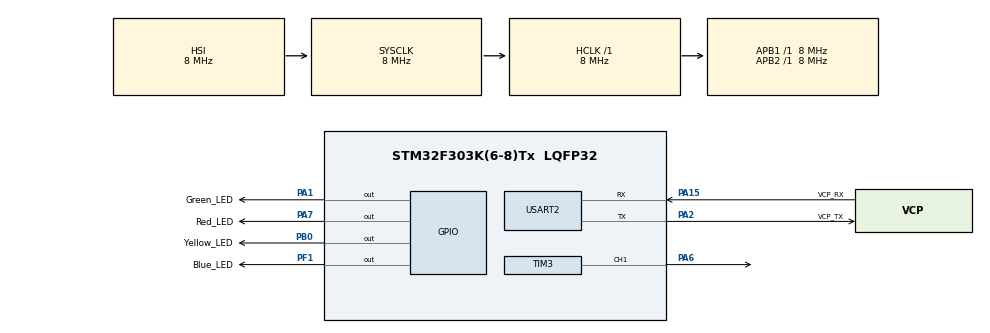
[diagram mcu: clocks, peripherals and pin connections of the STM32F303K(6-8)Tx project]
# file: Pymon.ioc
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Mcu.Family=STM32F3
Mcu.Name=STM32F303K(6-8)Tx
Mcu.Package=LQFP32
NVIC.PriorityGroup=NVIC_PRIORITYGROUP_4
PA1.GPIO_Label=Green_LED
PA1.Signal=GPIO_Output
PA13.GPIO_Label=SWDIO
PA13.Mode=Serial_Wire
PA13.Signal=SYS_JTMS-SWDIO
PA14.GPIO_Label=SWCLK
PA14.Mode=Serial_Wire
PA14.Signal=SYS_JTCK-SWCLK
PA15.GPIO_Label=VCP_RX
PA15.Mode=Asynchronous
PA15.Signal=USART2_RX
PA2.GPIO_Label=VCP_TX
PA2.Mode=Asynchronous
PA2.Signal=USART2_TX
PA6.Signal=S_TIM3_CH1
PA7.GPIO_Label=Red_LED
PA7.Signal=GPIO_Output
PA8.GPIO_Label=BUZZER
PA8.Signal=S_TIM1_CH1
PB0.GPIO_Label=Yellow_LED
PB0.Signal=GPIO_Output
PF0\ /\ OSC_IN.GPIO_Label=MCO
PF0\ /\ OSC_IN.Mode=HSE-External-Clock-Source
PF0\ /\ OSC_IN.Signal=RCC_OSC_IN
PF1\ /\ OSC_OUT.GPIO_Label=Blue_LED
PF1\ /\ OSC_OUT.Signal=GPIO_Output
ProjectManager.HeapSize=0x200
ProjectManager.StackSize=0x400
ProjectManager.TargetToolchain=STM32CubeIDE
RCC.AHBFreq_Value=8000000
RCC.APB1Freq_Value=8000000
RCC.APB2Freq_Value=8000000
RCC.CortexFreq_Value=8000000
RCC.HSE_VALUE=8000000
RCC.HSI_VALUE=8000000
RCC.PLLSourceVirtual=RCC_PLLSOURCE_HSE
RCC.SYSCLKFreq_VALUE=8000000
SH.S_TIM1_CH1.0=TIM1_CH1
SH.S_TIM3_CH1.0=TIM3_CH1,PWM Generation1 CH1
TIM1.Channel-PWM\ Generation1\ No\ Output=TIM_CHANNEL_1
TIM1.Period=65535
TIM1.Prescaler=7
TIM3.Channel-PWM\ Generation1\ CH1=TIM_CHANNEL_1
TIM3.Prescaler=7
TIM3.Pulse-PWM\ Generation1\ CH1=49
USART2.VirtualMode-Asynchronous=VM_ASYNC
VP_TIM1_VS_ClockSourceINT.Mode=Internal
VP_TIM1_VS_no_output1.Mode=PWM Generation1 No Output
board=NUCLEO-F303K8

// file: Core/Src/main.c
/* USER CODE BEGIN Header */
/**
  ******************************************************************************
  * @file           : main.c
  * @brief          : Main program body
  ******************************************************************************
  * @attention
  *
  * Copyright (c) 2024 STMicroelectronics.
  * All rights reserved.
  *
  * This software is licensed under terms that can be found in the LICENSE file
  * in the root directory of this software component.
  * If no LICENSE file comes with this software, it is provided AS-IS.
  *
  ******************************************************************************
  */
/* USER CODE END Header */
#include "main.h"

/* USER CODE BEGIN Includes */
#include "buzzer.h"
#include "buzzer_tones.h"
/* USER CODE END Includes */

/* USER CODE BEGIN PTD */
Buzzer_HandleTypeDef hbuzzer;
/* USER CODE END PTD */

TIM_HandleTypeDef htim1;
TIM_HandleTypeDef htim3;

UART_HandleTypeDef huart2;

void SystemClock_Config(void);
static void MX_GPIO_Init(void);
static void MX_USART2_UART_Init(void);
static void MX_TIM1_Init(void);
static void MX_TIM3_Init(void);

int main(void)
{

  /* MCU Configuration--------------------------------------------------------*/

  /* Reset of all peripherals, Initializes the Flash interface and the Systick. */
  HAL_Init();

  /* Configure the system clock */
  SystemClock_Config();

  /* Initialize all configured peripherals */
  MX_GPIO_Init();
  MX_USART2_UART_Init();
  MX_TIM1_Init();
  MX_TIM3_Init();
  /* USER CODE BEGIN 2 */

  //Buzzer configuration
  uint8_t buf;
  Buzzer_InitTypeDef buzzerConfig;
  buzzerConfig.channel = TIM_CHANNEL_1;
  buzzerConfig.timer = &htim3;
  buzzerConfig.timerClockFreqHz = HAL_RCC_GetPCLK2Freq(); // NOTE: this should be freq of timer, not frequency of peripheral clock
  Buzzer_Init(&hbuzzer, &buzzerConfig);
  Buzzer_Start(&hbuzzer);

  GPIO_TypeDef * Red_GPIO = GPIOF;
  uint16_t Red_PIN = GPIO_PIN_1;

  GPIO_TypeDef * Yellow_GPIO = GPIOA;
  uint16_t Yellow_PIN = GPIO_PIN_1;

  GPIO_TypeDef * Green_GPIO = GPIOB;
  uint16_t Green_PIN = GPIO_PIN_0;

  GPIO_TypeDef * Blue_GPIO = GPIOA;
  uint16_t Blue_PIN = GPIO_PIN_7;

  //Boot sequence
  HAL_GPIO_WritePin(Red_GPIO, Red_PIN, GPIO_PIN_SET);
  HAL_GPIO_WritePin(Yellow_GPIO, Yellow_PIN, GPIO_PIN_RESET);
  HAL_GPIO_WritePin(Green_GPIO, Green_PIN, GPIO_PIN_RESET);
  HAL_GPIO_WritePin(Blue_GPIO, Blue_PIN, GPIO_PIN_RESET);
  Buzzer_Note(&hbuzzer, NOTE_C4);
  HAL_Delay(200);

  HAL_GPIO_WritePin(Red_GPIO, Red_PIN, GPIO_PIN_RESET);
  HAL_GPIO_WritePin(Yellow_GPIO, Yellow_PIN, GPIO_PIN_SET);
  HAL_GPIO_WritePin(Green_GPIO, Green_PIN, GPIO_PIN_RESET);
  HAL_GPIO_WritePin(Blue_GPIO, GPIO_PIN_7, GPIO_PIN_RESET);
  Buzzer_Note(&hbuzzer, NOTE_D4);
  HAL_Delay(200);

  HAL_GPIO_WritePin(Red_GPIO, Red_PIN, GPIO_PIN_RESET);
  HAL_GPIO_WritePin(Yellow_GPIO, Yellow_PIN, GPIO_PIN_RESET);
  HAL_GPIO_WritePin(Green_GPIO, Green_PIN, GPIO_PIN_SET);
  HAL_GPIO_WritePin(Blue_GPIO, Blue_PIN, GPIO_PIN_RESET);
  Buzzer_Note(&hbuzzer, NOTE_E4);
  HAL_Delay(200);

  HAL_GPIO_WritePin(Red_GPIO, Red_PIN, GPIO_PIN_RESET);
  HAL_GPIO_WritePin(Yellow_GPIO, Yellow_PIN, GPIO_PIN_RESET);
  HAL_GPIO_WritePin(Green_GPIO, Green_PIN, GPIO_PIN_RESET);
  HAL_GPIO_WritePin(Blue_GPIO, Blue_PIN, GPIO_PIN_SET);
  Buzzer_Note(&hbuzzer, NOTE_F4);
  HAL_Delay(200);

  HAL_GPIO_WritePin(Red_GPIO, Red_PIN, GPIO_PIN_SET);
  HAL_GPIO_WritePin(Yellow_GPIO, Yellow_PIN, GPIO_PIN_RESET);
  HAL_GPIO_WritePin(Green_GPIO, Green_PIN, GPIO_PIN_RESET);
  HAL_GPIO_WritePin(Blue_GPIO, Blue_PIN, GPIO_PIN_RESET);
  Buzzer_Note(&hbuzzer, NOTE_G4);
  HAL_Delay(200);

  HAL_GPIO_WritePin(Red_GPIO, Red_PIN, GPIO_PIN_SET);
  HAL_GPIO_WritePin(Yellow_GPIO, Yellow_PIN, GPIO_PIN_SET);
  HAL_GPIO_WritePin(Green_GPIO, Green_PIN, GPIO_PIN_RESET);
  HAL_GPIO_WritePin(Blue_GPIO, Blue_PIN, GPIO_PIN_RESET);
  Buzzer_Note(&hbuzzer, NOTE_A4);
  HAL_Delay(200);

  HAL_GPIO_WritePin(Red_GPIO, Red_PIN, GPIO_PIN_SET);
  HAL_GPIO_WritePin(Yellow_GPIO, Yellow_PIN, GPIO_PIN_SET);
  HAL_GPIO_WritePin(Green_GPIO, Green_PIN, GPIO_PIN_SET);
  HAL_GPIO_WritePin(Blue_GPIO, Blue_PIN, GPIO_PIN_RESET);
  Buzzer_Note(&hbuzzer, NOTE_B4);
  HAL_Delay(200);

  HAL_GPIO_WritePin(Red_GPIO, Red_PIN, GPIO_PIN_SET);
  HAL_GPIO_WritePin(Yellow_GPIO, Yellow_PIN, GPIO_PIN_SET);
  HAL_GPIO_WritePin(Green_GPIO, Green_PIN, GPIO_PIN_SET);
  HAL_GPIO_WritePin(Blue_GPIO, Blue_PIN, GPIO_PIN_SET);
  Buzzer_Note(&hbuzzer, NOTE_C5);
  HAL_Delay(500);

  HAL_GPIO_WritePin(Red_GPIO, Red_PIN, GPIO_PIN_RESET);
  HAL_GPIO_WritePin(Yellow_GPIO, Yellow_PIN, GPIO_PIN_RESET);
  HAL_GPIO_WritePin(Green_GPIO, Green_PIN, GPIO_PIN_RESET);
  HAL_GPIO_WritePin(Blue_GPIO, Blue_PIN, GPIO_PIN_RESET);
  Buzzer_Note(&hbuzzer, 0);

  /* USER CODE END 2 */

  /* Infinite loop */
  /* USER CODE BEGIN WHILE */
  while (1)
  {

	  //Data reception
	  HAL_UART_Receive(&huart2, &buf, 1, 1000);

	  //Red color
	  if (buf == 'r'){
		  HAL_GPIO_WritePin(Red_GPIO, Red_PIN, GPIO_PIN_SET);
		  Buzzer_Note(&hbuzzer, NOTE_C4);
	  }
	  //Yellow color
	  else if (buf == 'y'){
		  HAL_GPIO_WritePin(Yellow_GPIO, Yellow_PIN, GPIO_PIN_SET);
		  Buzzer_Note(&hbuzzer, NOTE_D4);
	  }
	  //Green color
	  else if (buf == 'g'){
		  HAL_GPIO_WritePin(Green_GPIO, Green_PIN, GPIO_PIN_SET);
		  Buzzer_Note(&hbuzzer, NOTE_E4);
	  }
	  //Blue color
	  else if (buf == 'b'){
		  HAL_GPIO_WritePin(Blue_GPIO, Blue_PIN, GPIO_PIN_SET);
		  Buzzer_Note(&hbuzzer, NOTE_F4);
	  }
	  //None
	  else if (buf == 'n'){
		  HAL_GPIO_WritePin(Red_GPIO, Red_PIN, GPIO_PIN_RESET);
		  HAL_GPIO_WritePin(Yellow_GPIO, Yellow_PIN, GPIO_PIN_RESET);
		  HAL_GPIO_WritePin(Green_GPIO, Green_PIN, GPIO_PIN_RESET);
		  HAL_GPIO_WritePin(Blue_GPIO, Blue_PIN, GPIO_PIN_RESET);
		  Buzzer_Note(&hbuzzer, 0);
	  }

	  //Main menu sequence
	  else if (buf == 'm'){
		  HAL_GPIO_WritePin(Red_GPIO, Red_PIN, GPIO_PIN_SET);
		  HAL_GPIO_WritePin(Yellow_GPIO, Yellow_PIN, GPIO_PIN_RESET);
		  HAL_GPIO_WritePin(Green_GPIO, Green_PIN, GPIO_PIN_RESET);
		  HAL_GPIO_WritePin(Blue_GPIO, Blue_PIN, GPIO_PIN_RESET);
		  HAL_Delay(250);

		  HAL_GPIO_WritePin(Red_GPIO, Red_PIN, GPIO_PIN_RESET);
		  HAL_GPIO_WritePin(Yellow_GPIO, Yellow_PIN, GPIO_PIN_SET);
		  HAL_GPIO_WritePin(Green_GPIO, Green_PIN, GPIO_PIN_RESET);
		  HAL_GPIO_WritePin(Blue_GPIO, Blue_PIN, GPIO_PIN_RESET);
		  HAL_Delay(250);

		  HAL_GPIO_WritePin(Red_GPIO, Red_PIN, GPIO_PIN_RESET);
		  HAL_GPIO_WritePin(Yellow_GPIO, Yellow_PIN, GPIO_PIN_RESET);
		  HAL_GPIO_WritePin(Green_GPIO, Green_PIN, GPIO_PIN_SET);
		  HAL_GPIO_WritePin(Blue_GPIO, Blue_PIN, GPIO_PIN_RESET);
		  HAL_Delay(250);

		  HAL_GPIO_WritePin(Red_GPIO, Red_PIN, GPIO_PIN_RESET);
		  HAL_GPIO_WritePin(Yellow_GPIO, Yellow_PIN, GPIO_PIN_RESET);
		  HAL_GPIO_WritePin(Green_GPIO, Green_PIN, GPIO_PIN_RESET);
		  HAL_GPIO_WritePin(Blue_GPIO, Blue_PIN, GPIO_PIN_SET);
		  HAL_Delay(250);

		  HAL_GPIO_WritePin(Red_GPIO, Red_PIN, GPIO_PIN_RESET);
		  HAL_GPIO_WritePin(Yellow_GPIO, Yellow_PIN, GPIO_PIN_RESET);
		  HAL_GPIO_WritePin(Green_GPIO, Green_PIN, GPIO_PIN_SET);
		  HAL_GPIO_WritePin(Blue_GPIO, Blue_PIN, GPIO_PIN_RESET);
		  HAL_Delay(250);

		  HAL_GPIO_WritePin(Red_GPIO, Red_PIN, GPIO_PIN_RESET);
		  HAL_GPIO_WritePin(Yellow_GPIO, Yellow_PIN, GPIO_PIN_SET);
		  HAL_GPIO_WritePin(Green_GPIO, Green_PIN, GPIO_PIN_RESET);
		  HAL_GPIO_WritePin(Blue_GPIO, Blue_PIN, GPIO_PIN_RESET);
		  HAL_Delay(250);

		  HAL_GPIO_WritePin(Red_GPIO, Red_PIN, GPIO_PIN_SET);
		  HAL_GPIO_WritePin(Yellow_GPIO, Yellow_PIN, GPIO_PIN_RESET);
		  HAL_GPIO_WritePin(Green_GPIO, Green_PIN, GPIO_PIN_RESET);
		  HAL_GPIO_WritePin(Blue_GPIO, Blue_PIN, GPIO_PIN_RESET);
		  HAL_Delay(50);

	  }

    /* USER CODE END WHILE */

  }
}

void SystemClock_Config(void)
{
  RCC_OscInitTypeDef RCC_OscInitStruct = {0};
  RCC_ClkInitTypeDef RCC_ClkInitStruct = {0};
  RCC_PeriphCLKInitTypeDef PeriphClkInit = {0};

  /** Initializes the RCC Oscillators according to the specified parameters
  * in the RCC_OscInitTypeDef structure.
  */
  RCC_OscInitStruct.OscillatorType = RCC_OSCILLATORTYPE_HSI;
  RCC_OscInitStruct.HSIState = RCC_HSI_ON;
  RCC_OscInitStruct.HSICalibrationValue = RCC_HSICALIBRATION_DEFAULT;
  RCC_OscInitStruct.PLL.PLLState = RCC_PLL_NONE;
  if (HAL_RCC_OscConfig(&RCC_OscInitStruct) != HAL_OK)
  {
    Error_Handler();
  }

  /** Initializes the CPU, AHB and APB buses clocks
  */
  RCC_ClkInitStruct.ClockType = RCC_CLOCKTYPE_HCLK|RCC_CLOCKTYPE_SYSCLK
                              |RCC_CLOCKTYPE_PCLK1|RCC_CLOCKTYPE_PCLK2;
  RCC_ClkInitStruct.SYSCLKSource = RCC_SYSCLKSOURCE_HSI;
  RCC_ClkInitStruct.AHBCLKDivider = RCC_SYSCLK_DIV1;
  RCC_ClkInitStruct.APB1CLKDivider = RCC_HCLK_DIV1;
  RCC_ClkInitStruct.APB2CLKDivider = RCC_HCLK_DIV1;

  if (HAL_RCC_ClockConfig(&RCC_ClkInitStruct, FLASH_LATENCY_0) != HAL_OK)
  {
    Error_Handler();
  }
  PeriphClkInit.PeriphClockSelection = RCC_PERIPHCLK_TIM1;
  PeriphClkInit.Tim1ClockSelection = RCC_TIM1CLK_HCLK;
  if (HAL_RCCEx_PeriphCLKConfig(&PeriphClkInit) != HAL_OK)
  {
    Error_Handler();
  }
}

static void MX_TIM1_Init(void)
{

  TIM_ClockConfigTypeDef sClockSourceConfig = {0};
  TIM_MasterConfigTypeDef sMasterConfig = {0};
  TIM_OC_InitTypeDef sConfigOC = {0};
  TIM_BreakDeadTimeConfigTypeDef sBreakDeadTimeConfig = {0};

  htim1.Instance = TIM1;
  htim1.Init.Prescaler = 7;
  htim1.Init.CounterMode = TIM_COUNTERMODE_UP;
  htim1.Init.Period = 65535;
  htim1.Init.ClockDivision = TIM_CLOCKDIVISION_DIV1;
  htim1.Init.RepetitionCounter = 0;
  htim1.Init.AutoReloadPreload = TIM_AUTORELOAD_PRELOAD_DISABLE;
  if (HAL_TIM_Base_Init(&htim1) != HAL_OK)
  {
    Error_Handler();
  }
  sClockSourceConfig.ClockSource = TIM_CLOCKSOURCE_INTERNAL;
  if (HAL_TIM_ConfigClockSource(&htim1, &sClockSourceConfig) != HAL_OK)
  {
    Error_Handler();
  }
  if (HAL_TIM_PWM_Init(&htim1) != HAL_OK)
  {
    Error_Handler();
  }
  sMasterConfig.MasterOutputTrigger = TIM_TRGO_RESET;
  sMasterConfig.MasterOutputTrigger2 = TIM_TRGO2_RESET;
  sMasterConfig.MasterSlaveMode = TIM_MASTERSLAVEMODE_DISABLE;
  if (HAL_TIMEx_MasterConfigSynchronization(&htim1, &sMasterConfig) != HAL_OK)
  {
    Error_Handler();
  }
  sConfigOC.OCMode = TIM_OCMODE_PWM1;
  sConfigOC.Pulse = 0;
  sConfigOC.OCPolarity = TIM_OCPOLARITY_HIGH;
  sConfigOC.OCNPolarity = TIM_OCNPOLARITY_HIGH;
  sConfigOC.OCFastMode = TIM_OCFAST_DISABLE;
  sConfigOC.OCIdleState = TIM_OCIDLESTATE_RESET;
  sConfigOC.OCNIdleState = TIM_OCNIDLESTATE_RESET;
  if (HAL_TIM_PWM_ConfigChannel(&htim1, &sConfigOC, TIM_CHANNEL_1) != HAL_OK)
  {
    Error_Handler();
  }
  sBreakDeadTimeConfig.OffStateRunMode = TIM_OSSR_DISABLE;
  sBreakDeadTimeConfig.OffStateIDLEMode = TIM_OSSI_DISABLE;
  sBreakDeadTimeConfig.LockLevel = TIM_LOCKLEVEL_OFF;
  sBreakDeadTimeConfig.DeadTime = 0;
  sBreakDeadTimeConfig.BreakState = TIM_BREAK_DISABLE;
  sBreakDeadTimeConfig.BreakPolarity = TIM_BREAKPOLARITY_HIGH;
  sBreakDeadTimeConfig.BreakFilter = 0;
  sBreakDeadTimeConfig.Break2State = TIM_BREAK2_DISABLE;
  sBreakDeadTimeConfig.Break2Polarity = TIM_BREAK2POLARITY_HIGH;
  sBreakDeadTimeConfig.Break2Filter = 0;
  sBreakDeadTimeConfig.AutomaticOutput = TIM_AUTOMATICOUTPUT_DISABLE;
  if (HAL_TIMEx_ConfigBreakDeadTime(&htim1, &sBreakDeadTimeConfig) != HAL_OK)
  {
    Error_Handler();
  }

}

static void MX_TIM3_Init(void)
{

  TIM_MasterConfigTypeDef sMasterConfig = {0};
  TIM_OC_InitTypeDef sConfigOC = {0};

  htim3.Instance = TIM3;
  htim3.Init.Prescaler = 7;
  htim3.Init.CounterMode = TIM_COUNTERMODE_UP;
  htim3.Init.Period = 65535;
  htim3.Init.ClockDivision = TIM_CLOCKDIVISION_DIV1;
  htim3.Init.AutoReloadPreload = TIM_AUTORELOAD_PRELOAD_DISABLE;
  if (HAL_TIM_PWM_Init(&htim3) != HAL_OK)
  {
    Error_Handler();
  }
  sMasterConfig.MasterOutputTrigger = TIM_TRGO_RESET;
  sMasterConfig.MasterSlaveMode = TIM_MASTERSLAVEMODE_DISABLE;
  if (HAL_TIMEx_MasterConfigSynchronization(&htim3, &sMasterConfig) != HAL_OK)
  {
    Error_Handler();
  }
  sConfigOC.OCMode = TIM_OCMODE_PWM1;
  sConfigOC.Pulse = 49;
  sConfigOC.OCPolarity = TIM_OCPOLARITY_HIGH;
  sConfigOC.OCFastMode = TIM_OCFAST_DISABLE;
  if (HAL_TIM_PWM_ConfigChannel(&htim3, &sConfigOC, TIM_CHANNEL_1) != HAL_OK)
  {
    Error_Handler();
  }
  HAL_TIM_MspPostInit(&htim3);

}

static void MX_USART2_UART_Init(void)
{

  huart2.Instance = USART2;
  huart2.Init.BaudRate = 38400;
  huart2.Init.WordLength = UART_WORDLENGTH_8B;
  huart2.Init.StopBits = UART_STOPBITS_1;
  huart2.Init.Parity = UART_PARITY_NONE;
  huart2.Init.Mode = UART_MODE_TX_RX;
  huart2.Init.HwFlowCtl = UART_HWCONTROL_NONE;
  huart2.Init.OverSampling = UART_OVERSAMPLING_16;
  huart2.Init.OneBitSampling = UART_ONE_BIT_SAMPLE_DISABLE;
  huart2.AdvancedInit.AdvFeatureInit = UART_ADVFEATURE_NO_INIT;
  if (HAL_UART_Init(&huart2) != HAL_OK)
  {
    Error_Handler();
  }

}

static void MX_GPIO_Init(void)
{
  GPIO_InitTypeDef GPIO_InitStruct = {0};

  /* GPIO Ports Clock Enable */
  __HAL_RCC_GPIOF_CLK_ENABLE();
  __HAL_RCC_GPIOA_CLK_ENABLE();
  __HAL_RCC_GPIOB_CLK_ENABLE();

  /*Configure GPIO pin Output Level */
  HAL_GPIO_WritePin(Blue_LED_GPIO_Port, Blue_LED_Pin, GPIO_PIN_RESET);

  /*Configure GPIO pin Output Level */
  HAL_GPIO_WritePin(GPIOA, Green_LED_Pin|Red_LED_Pin, GPIO_PIN_RESET);

  /*Configure GPIO pin Output Level */
  HAL_GPIO_WritePin(Yellow_LED_GPIO_Port, Yellow_LED_Pin, GPIO_PIN_RESET);

  /*Configure GPIO pin : Blue_LED_Pin */
  GPIO_InitStruct.Pin = Blue_LED_Pin;
  GPIO_InitStruct.Mode = GPIO_MODE_OUTPUT_PP;
  GPIO_InitStruct.Pull = GPIO_NOPULL;
  GPIO_InitStruct.Speed = GPIO_SPEED_FREQ_LOW;
  HAL_GPIO_Init(Blue_LED_GPIO_Port, &GPIO_InitStruct);

  /*Configure GPIO pins : Green_LED_Pin Red_LED_Pin */
  GPIO_InitStruct.Pin = Green_LED_Pin|Red_LED_Pin;
  GPIO_InitStruct.Mode = GPIO_MODE_OUTPUT_PP;
  GPIO_InitStruct.Pull = GPIO_NOPULL;
  GPIO_InitStruct.Speed = GPIO_SPEED_FREQ_LOW;
  HAL_GPIO_Init(GPIOA, &GPIO_InitStruct);

  /*Configure GPIO pin : Yellow_LED_Pin */
  GPIO_InitStruct.Pin = Yellow_LED_Pin;
  GPIO_InitStruct.Mode = GPIO_MODE_OUTPUT_PP;
  GPIO_InitStruct.Pull = GPIO_NOPULL;
  GPIO_InitStruct.Speed = GPIO_SPEED_FREQ_LOW;
  HAL_GPIO_Init(Yellow_LED_GPIO_Port, &GPIO_InitStruct);

}

void Error_Handler(void)
{
  __disable_irq();
  while (1)
  {
  }
}
